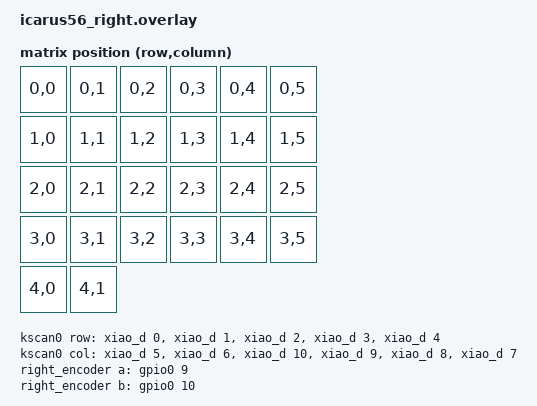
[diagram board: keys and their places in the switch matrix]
/*
 * Icarus56 — Right Half Shield Overlay
 * Seeed XIAO nRF52840
 *
 * 5 rows x 6 cols (mirrored from left)
 * Encoder switch: Row4, Col1
 * Encoder A: NFC1 (P0.09), Encoder B: NFC2 (P0.10)
 */

#include <dt-bindings/zmk/matrix_transform.h>

/ {
    chosen {
        zmk,kscan = &kscan0;
        zmk,matrix_transform = &default_transform;
    };

    default_transform: keymap_transform_0 {
        compatible = "zmk,matrix-transform";
        columns = <6>;
        rows = <5>;

        map = <
            RC(0,0) RC(0,1) RC(0,2) RC(0,3) RC(0,4) RC(0,5)
            RC(1,0) RC(1,1) RC(1,2) RC(1,3) RC(1,4) RC(1,5)
            RC(2,0) RC(2,1) RC(2,2) RC(2,3) RC(2,4) RC(2,5)
            RC(3,0) RC(3,1) RC(3,2) RC(3,3) RC(3,4) RC(3,5)
            RC(4,0) RC(4,1)
        >;
    };

    kscan0: kscan {
        compatible = "zmk,kscan-gpio-matrix";
        label = "KSCAN";
        diode-direction = "col2row";

        // Columns: Col0–Col5
        col-gpios
            = <&xiao_d 5 GPIO_ACTIVE_HIGH>   // Col0 — P0.05 / A5 / D5
            , <&xiao_d 6 GPIO_ACTIVE_HIGH>   // Col1 — P1.11 / D6 / TX
            , <&xiao_d 10 GPIO_ACTIVE_HIGH>  // Col2 — P1.15 / D10 / MOSI
            , <&xiao_d 9 GPIO_ACTIVE_HIGH>   // Col3 — P1.14 / D9 / MISO
            , <&xiao_d 8 GPIO_ACTIVE_HIGH>   // Col4 — P1.13 / D8 / SCK
            , <&xiao_d 7 GPIO_ACTIVE_HIGH>   // Col5 — P1.12 / D7 / RX
            ;

        // Rows: Row0–Row4
        row-gpios
            = <&xiao_d 0 (GPIO_ACTIVE_HIGH | GPIO_PULL_DOWN)>  // Row0 — P0.02 / A0 / D0
            , <&xiao_d 1 (GPIO_ACTIVE_HIGH | GPIO_PULL_DOWN)>  // Row1 — P0.03 / A1 / D1
            , <&xiao_d 2 (GPIO_ACTIVE_HIGH | GPIO_PULL_DOWN)>  // Row2 — P0.28 / A2 / D2
            , <&xiao_d 3 (GPIO_ACTIVE_HIGH | GPIO_PULL_DOWN)>  // Row3 — P0.29 / A3 / D3
            , <&xiao_d 4 (GPIO_ACTIVE_HIGH | GPIO_PULL_DOWN)>  // Row4 — P0.04 / A4 / D4
            ;
    };

    right_encoder: encoder_right {
        compatible = "alps,ec11";
        label = "RIGHT_ENCODER";
        a-gpios = <&gpio0 9 (GPIO_ACTIVE_HIGH | GPIO_PULL_UP)>;   // NFC1 — P0.09
        b-gpios = <&gpio0 10 (GPIO_ACTIVE_HIGH | GPIO_PULL_UP)>;  // NFC2 — P0.10
        steps = <80>;
        status = "okay";
    };

    sensors {
        compatible = "zmk,keymap-sensors";
        sensors = <&right_encoder>;
        triggers-per-rotation = <20>;
    };
};
